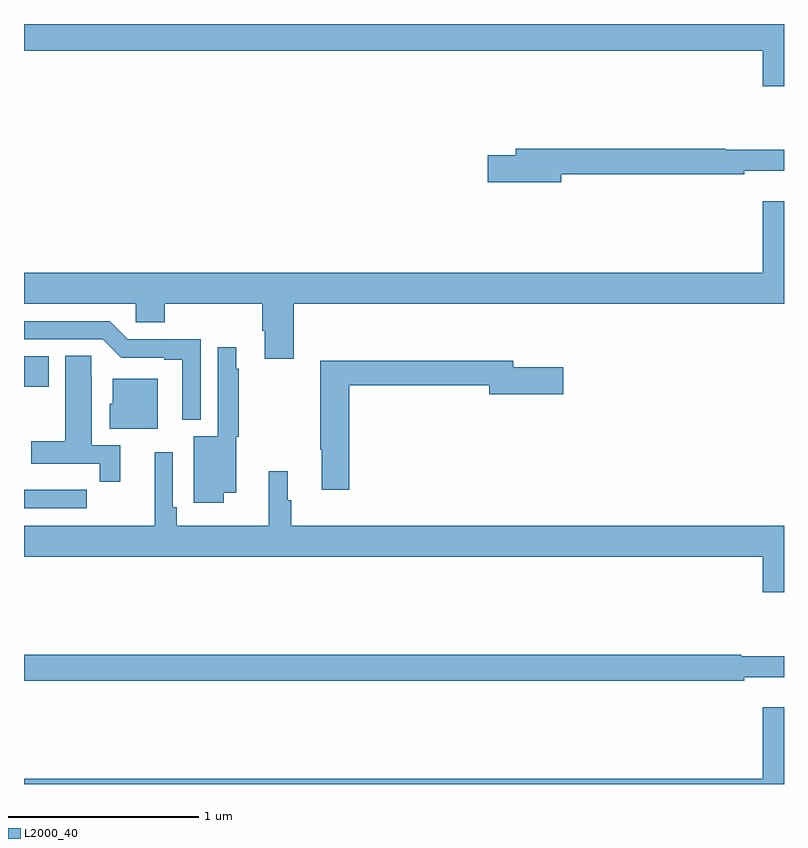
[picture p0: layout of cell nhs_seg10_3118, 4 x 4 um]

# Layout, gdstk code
import gdstk
lib = gdstk.Library(unit=1e-6, precision=1e-09)
def R(c, l, rs):  # rectangles x0, y0, x1, y1
    for r in rs: c.add(gdstk.rectangle(r[:2], r[2:], *l))
def P(c, l, *ps):  # polygons
    for p in ps: c.add(gdstk.Polygon(p, *l))
L2000_40 = (2000, 40)

nhs_seg10_3118 = lib.new_cell('nhs_seg10_3118')
R(nhs_seg10_3118, L2000_40, [(281,1254.592,281.131,1254.751)])
P(nhs_seg10_3118, L2000_40, [(285,1256.5),(281,1256.5),(281,1256.36),(284.888,1256.36),(284.888,1256.172),(285,1256.172)],
  [(283.828,1255.708),(284.792,1255.708),(284.792,1255.727),(285,1255.727),(285,1255.837),(284.693,1255.837),(284.693,1255.844),(283.589,1255.844),(283.589,1255.808),(283.44,1255.808),(283.44,1255.666),(283.828,1255.666)],
  [(282.419,1255.028),(285,1255.028),(285,1255.567),(284.888,1255.567),(284.888,1255.192),(281,1255.192),(281,1255.028),(281.589,1255.028),(281.589,1254.93),(281.741,1254.93),(281.741,1255.028),(282.254,1255.028),(282.254,1254.886),(282.266,1254.886),(282.266,1254.738),(282.419,1254.738)],
  [(281.931,1254.84),(281.547,1254.84),(281.451,1254.936),(281,1254.936),(281,1254.84),(281.415,1254.84),(281.511,1254.744),(281.738,1254.744),(281.738,1254.732),(281.834,1254.732),(281.834,1254.416),(281.931,1254.416)],
  [(282.052,1254.032),(282.118,1254.032),(282.118,1254.327),(282.13,1254.327),(282.13,1254.686),(282.118,1254.686),(282.118,1254.799),(282.021,1254.799),(282.021,1254.331),(281.894,1254.331),(281.894,1253.979),(282.052,1253.979)],
  [(281.507,1254.282),(281.356,1254.282),(281.356,1254.644),(281.355,1254.644),(281.355,1254.755),(281.216,1254.755),(281.216,1254.303),(281.039,1254.303),(281.039,1254.186),(281.398,1254.186),(281.398,1254.09),(281.507,1254.09)],
  [(282.713,1254.598),(283.448,1254.598),(283.448,1254.551),(283.837,1254.551),(283.837,1254.693),(283.576,1254.693),(283.576,1254.727),(282.559,1254.727),(282.559,1254.26),(282.566,1254.26),(282.566,1254.048),(282.713,1254.048)],
  [(281.704,1254.634),(281.468,1254.634),(281.468,1254.501),(281.45,1254.501),(281.45,1254.371),(281.704,1254.371)],
  [(285,1253.86),(282.407,1253.86),(282.407,1253.994),(282.388,1253.994),(282.388,1254.145),(282.289,1254.145),(282.289,1253.86),(281.804,1253.86),(281.804,1253.956),(281.784,1253.956),(281.784,1254.247),(281.687,1254.247),(281.687,1253.86),(281,1253.86),(281,1253.696),(284.888,1253.696),(284.888,1253.508),(285,1253.508)],
  [(281.329,1254.048),(281.216,1254.048),(281.216,1254.049),(281.05,1254.049),(281.05,1254.048),(281,1254.048),(281,1253.952),(281.329,1253.952)],
  [(284.792,1253.063),(285,1253.063),(285,1253.173),(284.776,1253.173),(284.776,1253.18),(281,1253.18),(281,1253.044),(284.792,1253.044)],
  [(285,1252.903),(284.888,1252.903),(284.888,1252.528),(281,1252.528),(281,1252.5),(285,1252.5)])

lib.write_gds('nhs_seg10_3118.gds')
